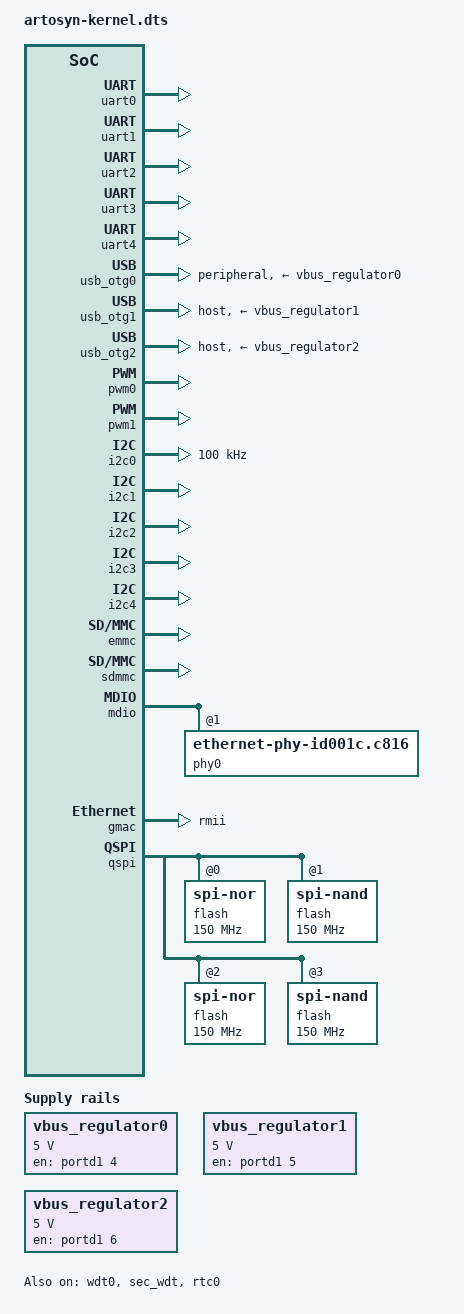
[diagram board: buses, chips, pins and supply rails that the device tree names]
/*
 * Copyright 2015 Artosyn Co., Ltd.
 *
 * This file is dual-licensed: you can use it either under the terms
 * of the GPL or the X11 license, at your option. Note that this dual
 * licensing only applies to this file, and not this project as a
 * whole.
 *
 *  a) This file is free software; you can redistribute it and/or
 *     modify it under the terms of the GNU General Public License as
 *     published by the Free Software Foundation; either version 2 of the
 *     License, or (at your option) any later version.
 *
 *     This file is distributed in the hope that it will be useful,
 *     but WITHOUT ANY WARRANTY; without even the implied warranty of
 *     MERCHANTABILITY or FITNESS FOR A PARTICULAR PURPOSE.  See the
 *     GNU General Public License for more details.
 *
 * Or, alternatively,
 *
 *  b) Permission is hereby granted, free of charge, to any person
 *     obtaining a copy of this software and associated documentation
 *     files (the "Software"), to deal in the Software without
 *     restriction, including without limitation the rights to use,
 *     copy, modify, merge, publish, distribute, sublicense, and/or
 *     sell copies of the Software, and to permit persons to whom the
 *     Software is furnished to do so, subject to the following
 *     conditions:
 *
 *     The above copyright notice and this permission notice shall be
 *     included in all copies or substantial portions of the Software.
 *
 *     THE SOFTWARE IS PROVIDED "AS IS", WITHOUT WARRANTY OF ANY KIND,
 *     EXPRESS OR IMPLIED, INCLUDING BUT NOT LIMITED TO THE WARRANTIES
 *     OF MERCHANTABILITY, FITNESS FOR A PARTICULAR PURPOSE AND
 *     NONINFRINGEMENT. IN NO EVENT SHALL THE AUTHORS OR COPYRIGHT
 *     HOLDERS BE LIABLE FOR ANY CLAIM, DAMAGES OR OTHER LIABILITY,
 *     WHETHER IN AN ACTION OF CONTRACT, TORT OR OTHERWISE, ARISING
 *     OTHER DEALINGS IN THE SOFTWARE.
 */

/dts-v1/;
#include "../../common/artosyn-kernel.dtsi"
#include "artosyn-memory.dtsi"

&cpu0 {
    /delete-property/ operating-points-v2;
};
&cpu1 {
    /delete-property/ operating-points-v2;
};
&cpu2 {
    /delete-property/ operating-points-v2;
};
&cpu3 {
    /delete-property/ operating-points-v2;
};

&uart0 {
	status = "okay";
};

&uart1 {
	status = "okay";
};

&uart2 {
	status = "okay";
};

&uart3 {
	status = "okay";
};

&uart4 {
	status = "okay";
};

&vbus_regulator0 {
	compatible = "regulator-fixed";
	regulator-name = "usb_otg0_vbus";
	regulator-min-microvolt = <5000000>;
	regulator-max-microvolt = <5000000>;
	gpio = <&portd1 4 GPIO_ACTIVE_HIGH>;
	enable-active-high;
};

&vbus_regulator1 {
	compatible = "regulator-fixed";
	regulator-name = "usb_otg1_vbus";
	regulator-min-microvolt = <5000000>;
	regulator-max-microvolt = <5000000>;
	gpio = <&portd1 5 GPIO_ACTIVE_HIGH>;
	enable-active-high;
};

&vbus_regulator2 {
	compatible = "regulator-fixed";
	regulator-name = "usb_otg2_vbus";
	regulator-min-microvolt = <5000000>;
	regulator-max-microvolt = <5000000>;
	gpio = <&portd1 6 GPIO_ACTIVE_HIGH>;
	enable-active-high;
};

&usb_otg0 {
	dr_mode = "peripheral";
	vbus-supply = <&vbus_regulator0>;
	status = "okay";
};

&usb_otg1 {
	dr_mode = "host";
	vbus-supply = <&vbus_regulator1>;
	status = "okay";
};

&usb_otg2 {
	dr_mode = "host";
	vbus-supply = <&vbus_regulator2>;
	status = "okay";
};

&wdt0 {
	status = "okay";
};

&sec_wdt {
    status = "okay";
};

&rtc0 {
	status = "okay";
};

&pwm0 {
	status = "okay";
};

&pwm1 {
	status = "okay";
};

&tzc {
	status = "disabled";
};

&spi0 {
	status = "disabled";
};

&spi1 {
	status = "disabled";
};

&spi0_s {
	status = "disabled";
};

&spi1_s {
	status = "disabled";
};

&i2c0 {
	status = "okay";
	clock-frequency = <100000>;
};

&i2c1 {
	status = "okay";
};

&i2c2 {
	status = "okay";
};

&i2c3 {
	status = "okay";
};

&i2c4 {
	status = "okay";
};

&emmc {
//	/delete-property/voltage-ranges;
//	/delete-property/no-1-8-v;
	/delete-property/full-pwr-cycle;
//	mmc-hs200-1_8v;
	status = "okay";
};

&sdmmc {
	clock-frequency = <100000000>;
	clock-freq-min-max = <400000 100000000>;
	num-slots = <3>;
	cap-sdio-irq;
	/delete-property/no-sdio;
	status = "okay";
};

&mdio {
	status = "okay";

	phy0: ethernet-phy@1 {
        compatible = "ethernet-phy-id001c.c816","ethernet-phy-ieee802.3-c22";
		status = "okay";
	};
};

&gmac {
	phy-mode = "rmii";

	status = "okay";
};

&qspi {
	status = "okay";

	flash@0 {
		compatible = "jedec,spi-nor";
		reg = <SPI_NOR_CS0>;
		spi-max-frequency = <150000000>;
	};
	flash@1 {
		compatible = "spi-nand";
		reg = <SPI_NAND_CS0>;
		spi-max-frequency = <150000000>;
	};
	flash@2 {
		compatible = "jedec,spi-nor";
		reg = <SPI_NOR_CS1>;
		spi-max-frequency = <150000000>;
	};
	flash@3 {
		compatible = "spi-nand";
		reg = <SPI_NAND_CS1>;
		spi-max-frequency = <150000000>;
	};
};

&ipsec {
    status = "disabled";
};

&pka {
    status = "disabled";
};

&hwrng {
    status = "disabled";
};

